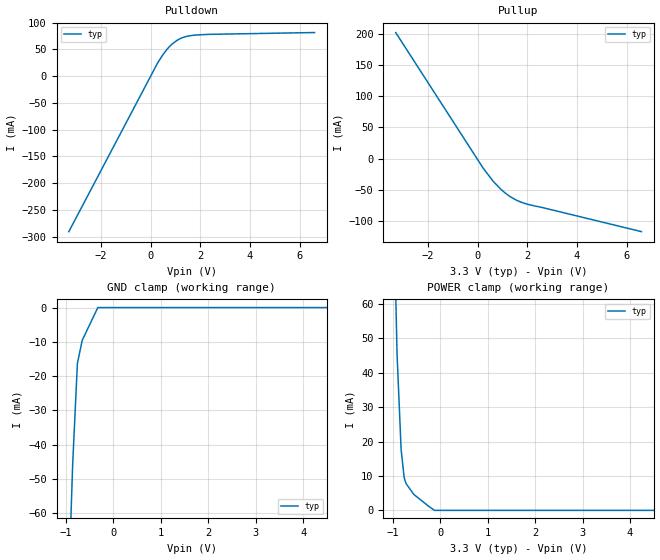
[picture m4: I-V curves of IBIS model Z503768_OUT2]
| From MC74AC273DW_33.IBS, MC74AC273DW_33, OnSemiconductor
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| (C) COPYRIGHT 1993-2000
| MENTOR GRAPHICS CORPORATION
| ICX STANDARD LIBRARY, ICX PROJECT MODELING,
| ICX CUSTOM MODELING, ICX VENDOR MODEL
| ALL RIGHTS RESERVED.
| THE FOLLOWING ARE TRADEMARKS OR SERVICE MARKS OF
| MENTOR GRAPHICS CORPORATION:ICX (R), ICX STANDARD
| LIBRARY(R), ICX PROJECT MODELING(R), ICX CUSTOM
| MODELING(R), qualityIBIS(TM), MODELVIEWER(TM),
| AND MODELEDITOR(TM)
| ALL COPIES OF SOFTWARE, INCLUDING BUT NOT LIMITED TO
| ANY MODIFICATIONS, ENHANCEMENTS OR DERIVATIVE WORKS,
| MUST CONTAIN ALL MENTOR GRAPHICS CORPORATION'S
| NOTICES AND LEGENDS, INCLUDING THOSE EMBEDDED IN
| SOFTWARE AND THOSE AFFIXED TO SOFTWARE MEDIUM
| AND CONTAINER, AS RECEIVED FROM MENTOR GRAPHICS
| CORPORATION.
| Model Application Version 1.89 2/18/99.
[Model] Z503768_OUT2
Model_type Output
Vref=0.000V
Rref=500.0ohms
Cref=50.00pF
Vmeas=1.650V
C_comp 8.000pF NA NA
| variable typ   min   max
[Voltage Range] 3.300V NA NA
[POWER Clamp Reference] 3.300V NA NA
[Pullup Reference] 3.300V NA NA
[Pulldown Reference] 0.000V NA NA
[GND Clamp Reference] 0.000V NA NA
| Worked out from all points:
|   slope of the pulldown table from 0 to 0.495 V, typ, clamps not added: 12.3 ohm
|   slope of the pullup table from 0 to 0.495 V, typ, clamps not added: 17.6 ohm
|   POWER clamp passes 1 mA (typ) near -0.23 V on its own axis
[GND Clamp]
-3.3V     -1.059A    NA         NA
-859mV    -45.49mA   NA         NA
-760mV    -16.3mA    NA         NA
-658.6mV  -9.552mA   NA         NA
-329.3mV  0A         NA         NA
6.6V      0A         NA         NA
[Pulldown]
-3.3V     -290.9mA   NA         NA
279.2mV   24.76mA    NA         NA
483.5mV   39.65mA    NA         NA
669.4mV   50.96mA    NA         NA
878.8mV   60.71mA    NA         NA
1.071V    67.24mA    NA         NA
1.286V    72.04mA    NA         NA
1.821V    76.83mA    NA         NA
6.6V      81.48mA    NA         NA
[Pullup]
-3.3V     202.4mA    NA         NA
220mV     -15.22mA   NA         NA
616mV     -36.02mA   NA         NA
1.117V    -55.57mA   NA         NA
1.524V    -66.07mA   NA         NA
2.052V    -73.86mA   NA         NA
6.6V      -117.4mA   NA         NA
[POWER Clamp]
-3.3V     1.89A      NA         NA
-1.026V   115.6mA    NA         NA
-912mV    45.34mA    NA         NA
-826mV    17.55mA    NA         NA
-762mV    9.527mA    NA         NA
-723mV    7.797mA    NA         NA
-560mV    4.643mA    NA         NA
-245mV    1.185mA    NA         NA
-122.5mV  0A         NA         NA
6.6V      0A         NA         NA
[Ramp]
| variable typ min max
dV/dt_r 1.934/379.4p NA NA
dV/dt_f 1.934/328.6p NA NA
R_load = 500.0Ohms
